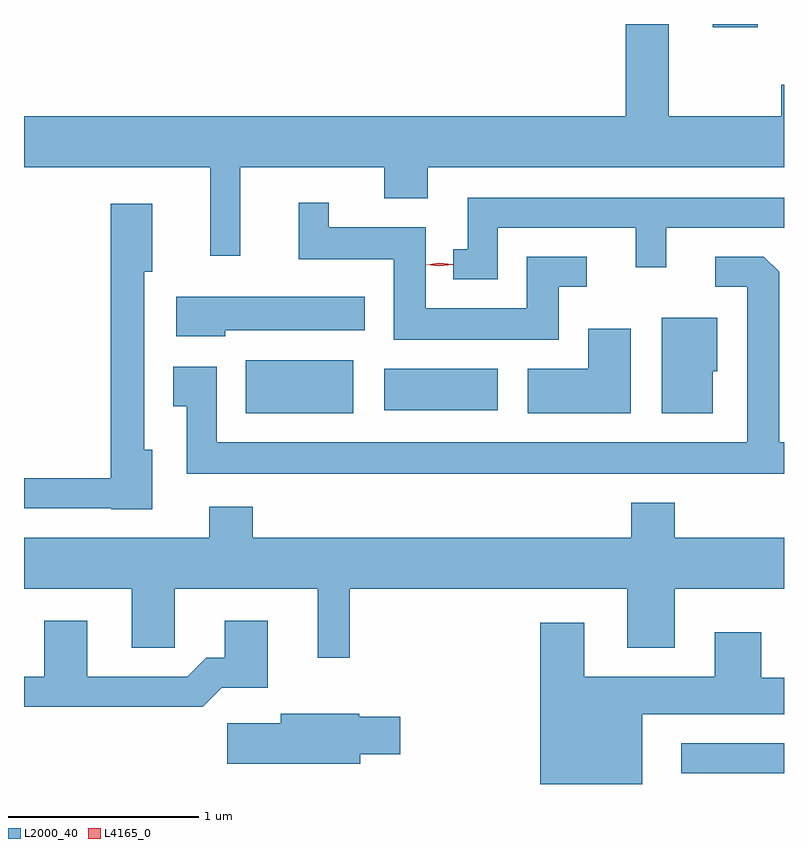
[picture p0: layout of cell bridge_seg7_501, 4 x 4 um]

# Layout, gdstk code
import gdstk
lib = gdstk.Library(unit=1e-6, precision=1e-09)
def R(c, l, rs):  # rectangles x0, y0, x1, y1
    for r in rs: c.add(gdstk.rectangle(r[:2], r[2:], *l))
def P(c, l, *ps):  # polygons
    for p in ps: c.add(gdstk.Polygon(p, *l))
L2000_40 = (2000, 40)
L4165_0 = (4165, 0)

bridge_seg7_501 = lib.new_cell('bridge_seg7_501')
R(bridge_seg7_501, L2000_40, [(1344.573,1693.366,1345.115,1693.524), (1342.281,1695.261,1342.849,1695.539), (1343.011,1695.276,1343.609,1695.494), (1344.741,1697.291,1344.978,1697.309)])
P(bridge_seg7_501, L2000_40, [(1342.254,1696.556),(1343.011,1696.556),(1343.011,1696.391),(1343.239,1696.391),(1343.239,1696.556),(1345.115,1696.556),(1345.115,1696.989),(1345.101,1696.989),(1345.101,1696.824),(1344.509,1696.824),(1344.509,1697.309),(1344.281,1697.309),(1344.281,1696.824),(1341.115,1696.824),(1341.115,1696.556),(1342.096,1696.556),(1342.096,1696.088),(1342.254,1696.088)],
  [(1343.609,1696.236),(1344.336,1696.236),(1344.336,1696.028),(1344.494,1696.028),(1344.494,1696.236),(1345.115,1696.236),(1345.115,1696.394),(1343.451,1696.394),(1343.451,1696.124),(1343.373,1696.124),(1343.373,1695.966),(1343.609,1695.966)],
  [(1343.929,1695.926),(1344.078,1695.926),(1344.078,1696.084),(1343.761,1696.084),(1343.761,1695.814),(1343.229,1695.814),(1343.229,1696.239),(1342.719,1696.239),(1342.719,1696.368),(1342.561,1696.368),(1342.561,1696.071),(1343.061,1696.071),(1343.061,1695.646),(1343.929,1695.646)],
  [(1341.789,1695.069),(1341.749,1695.069),(1341.749,1696.006),(1341.789,1696.006),(1341.789,1696.364),(1341.571,1696.364),(1341.571,1694.919),(1341.115,1694.919),(1341.115,1694.761),(1341.575,1694.761),(1341.575,1694.756),(1341.789,1694.756)],
  [(1345.115,1695.109),(1345.089,1695.109),(1345.089,1696.004),(1345.009,1696.084),(1344.753,1696.084),(1344.753,1695.926),(1344.921,1695.926),(1344.921,1695.109),(1342.129,1695.109),(1342.129,1695.504),(1341.901,1695.504),(1341.901,1695.296),(1341.971,1695.296),(1341.971,1694.941),(1345.115,1694.941)],
  [(1342.174,1695.696),(1342.909,1695.696),(1342.909,1695.874),(1341.916,1695.874),(1341.916,1695.666),(1342.174,1695.666)],
  [(1344.739,1695.481),(1344.764,1695.481),(1344.764,1695.764),(1344.471,1695.764),(1344.471,1695.261),(1344.739,1695.261)],
  [(1344.309,1695.704),(1344.086,1695.704),(1344.086,1695.494),(1343.766,1695.494),(1343.766,1695.261),(1344.309,1695.261)],
  [(1342.829,1694.336),(1344.291,1694.336),(1344.291,1694.026),(1344.539,1694.026),(1344.539,1694.336),(1345.115,1694.336),(1345.115,1694.604),(1344.539,1694.604),(1344.539,1694.789),(1344.311,1694.789),(1344.311,1694.604),(1342.319,1694.604),(1342.319,1694.769),(1342.091,1694.769),(1342.091,1694.604),(1341.115,1694.604),(1341.115,1694.336),(1341.681,1694.336),(1341.681,1694.026),(1341.909,1694.026),(1341.909,1694.336),(1342.661,1694.336),(1342.661,1693.973),(1342.829,1693.973)],
  [(1342.157,1693.816),(1342.399,1693.816),(1342.399,1694.169),(1342.171,1694.169),(1342.171,1693.974),(1342.074,1693.974),(1341.974,1693.874),(1341.449,1693.874),(1341.449,1694.169),(1341.221,1694.169),(1341.221,1693.874),(1341.115,1693.874),(1341.115,1693.716),(1342.057,1693.716)],
  [(1344.369,1693.676),(1345.115,1693.676),(1345.115,1693.869),(1344.994,1693.869),(1344.994,1694.109),(1344.751,1694.109),(1344.751,1693.874),(1344.064,1693.874),(1344.064,1694.159),(1343.831,1694.159),(1343.831,1693.309),(1344.369,1693.309)],
  [(1342.884,1693.466),(1343.094,1693.466),(1343.094,1693.664),(1342.88,1693.664),(1342.88,1693.679),(1342.466,1693.679),(1342.466,1693.629),(1342.186,1693.629),(1342.186,1693.416),(1342.884,1693.416)])
P(bridge_seg7_501, L4165_0, [(1343.301,1696.033),(1343.232,1696.042),(1343.232,1696.043),(1343.232,1696.043),(1343.301,1696.053),(1343.371,1696.044),(1343.371,1696.043),(1343.371,1696.043)])

lib.write_gds('bridge_seg7_501.gds')
